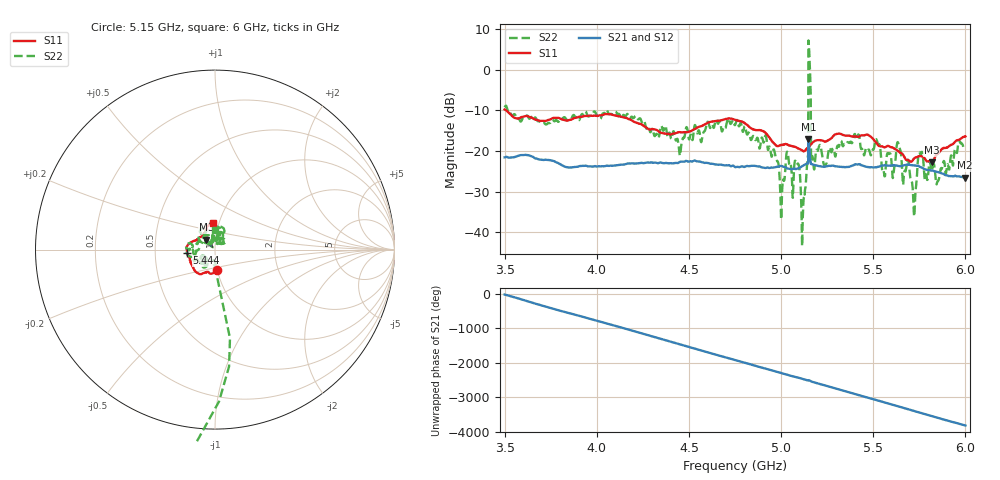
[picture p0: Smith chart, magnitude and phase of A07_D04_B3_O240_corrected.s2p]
! Created with skrf 1.9.0 (http://scikit-rf.org).
# Hz S RI R 50.0
!freq ReS11 ImS11 ReS21 ImS21 ReS12 ImS12 ReS22 ImS22
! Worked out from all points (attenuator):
!   1601 points, 3.5 GHz to 6 GHz, reference 50 ohm
!   highest |S21| = -17.15 dB at 5.148 GHz (marker M1); lowest = -26.6 dB at 5.998 GHz (marker M2)
!   lowest |S11| = -22.7 dB at 5.817 GHz (marker M3), VSWR 1.16, Z = 45.2 + j4.99 ohm
!   |S11| at or under -10 dB: 3.508 GHz to end of sweep
!   |S22| runs from -43.4 to 7.2 dB; largest |S21 - S12| = 0.0012
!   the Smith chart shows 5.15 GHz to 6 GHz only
!   S11 on the Smith chart (normalised r, x): 5.15 GHz: 1.00, -0.23; 5.444 GHz: 0.73, -0.03; 6 GHz: 0.93, +0.29
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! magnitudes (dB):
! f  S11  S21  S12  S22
! 3.5 GHz  -9.8  -21.6  -21.5  -9.2
! 3.917 GHz  -11.6  -23.7  -23.7  -11.0
! 4.334 GHz  -15.1  -23.0  -22.9  -16.8
! 4.75 GHz  -12.4  -24.0  -23.9  -13.6
! 4.911 GHz  -15.3  -24.2  -24.1  -16.8
! 5.005 GHz  -18.5  -23.7  -23.7  -31.0
! 5.034 GHz  -18.4  -24.3  -24.2  -20.3
! 5.086 GHz  -19.2  -24.4  -24.3  -23.4
! 5.12 GHz  -20.0  -23.6  -23.5  -33.4
! 5.134 GHz  -19.7  -23.2  -23.1  -28.0
! 5.148 GHz  -19.0  -17.1  -17.1  7.2
! 5.15 GHz  -19.0  -17.7  -17.7  6.7
! 5.167 GHz  -18.1  -23.3  -23.2  -21.3
! 5.175 GHz  -17.8  -23.4  -23.3  -23.0
! 5.444 GHz  -16.1  -23.6  -23.5  -19.8
! 5.584 GHz  -18.8  -23.6  -23.6  -20.7
! 5.639 GHz  -20.2  -23.7  -23.7  -18.6
! 5.72 GHz  -21.9  -23.5  -23.5  -35.2
! 5.755 GHz  -21.2  -23.9  -23.9  -20.6
! 5.817 GHz  -22.7  -24.8  -24.7  -24.8
! 5.998 GHz  -16.5  -26.6  -26.5  -19.3
! 6 GHz  -16.4  -26.6  -26.5  -19.2
